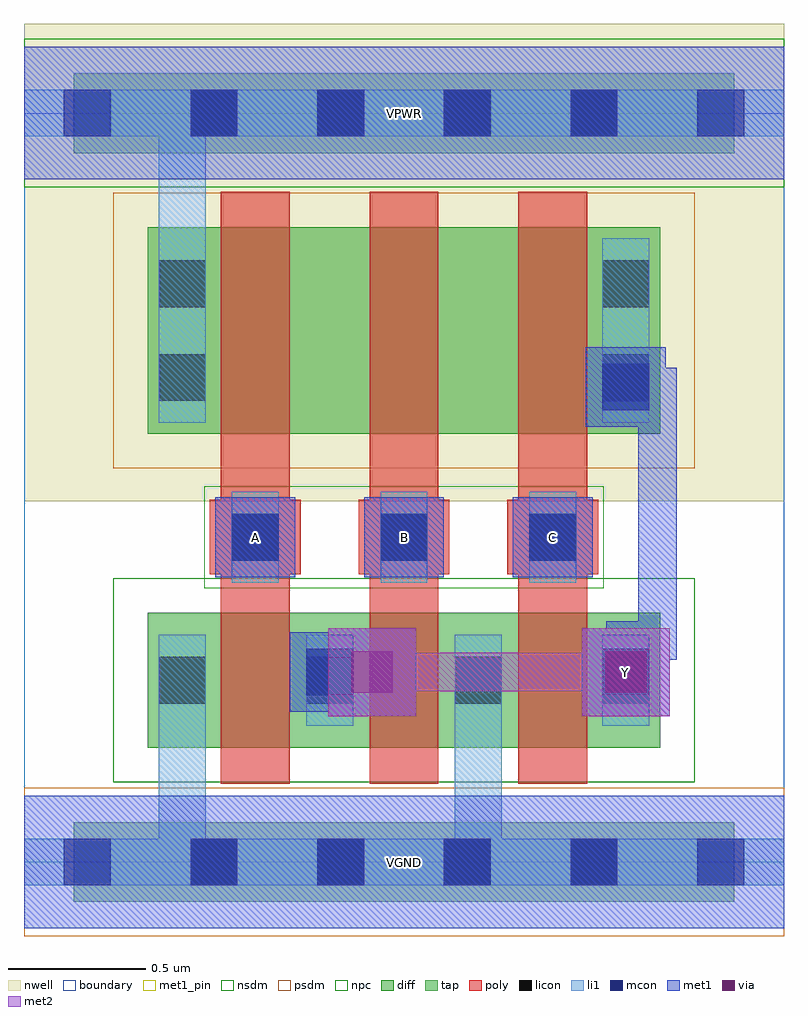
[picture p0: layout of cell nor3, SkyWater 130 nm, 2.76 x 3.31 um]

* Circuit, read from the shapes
.subckt nor3 A B C VGND VPWR Y
XM1 Y A VGND VGND sky130_fd_pr__nfet_01v8 w=0.49 l=0.25
XM2 VGND B Y VGND sky130_fd_pr__nfet_01v8 w=0.49 l=0.25
XM3 Y C VGND VGND sky130_fd_pr__nfet_01v8 w=0.49 l=0.25
XM4 n1 A VPWR VPWR sky130_fd_pr__pfet_01v8 w=0.75 l=0.25
XM5 n2 B n1 VPWR sky130_fd_pr__pfet_01v8 w=0.75 l=0.25
XM6 Y C n2 VPWR sky130_fd_pr__pfet_01v8 w=0.75 l=0.25
.ends

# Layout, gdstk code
import gdstk
lib = gdstk.Library(unit=1e-6, precision=1e-09)
def R(c, l, rs):  # rectangles x0, y0, x1, y1
    for r in rs: c.add(gdstk.rectangle(r[:2], r[2:], *l))
def A(c, l, x, y, w, h, nx, ny, dx, dy):  # array of equal rectangles
    R(c, l, [(x+i*dx, y+j*dy, x+i*dx+w, y+j*dy+h) for i in range(nx) for j in range(ny)])
nwell = (64, 20)
diff = (65, 20)
tap = (65, 44)
poly = (66, 20)
licon = (66, 44)
li1 = (67, 20)
mcon = (67, 44)
met1_pin = (68, 16)
met1 = (68, 20)
via = (68, 44)
met2 = (69, 20)
nsdm = (93, 44)
psdm = (94, 20)
npc = (95, 20)
boundary = (235, 4)

nor3 = lib.new_cell('nor3')
R(nor3, nwell, [(0,1.31,2.76,3.045)])
R(nor3, diff, [(0.45,0.415,2.31,0.905), (0.45,1.555,2.31,2.305)])
R(nor3, tap, [(0.18,-0.145,2.58,0.145), (0.18,2.575,2.58,2.865)])
A(nor3, poly, 0.715, 0.285, 0.25, 2.15, 3, 1, 0.54, 0)
A(nor3, poly, 0.675, 1.045, 0.33, 0.27, 3, 1, 0.54, 0)
A(nor3, licon, 0.605, -0.085, 0.17, 0.17, 4, 2, 0.46, 2.72)
A(nor3, licon, 0.755, 1.095, 0.17, 0.17, 3, 1, 0.54, 0)
R(nor3, licon, [(0.49,0.575,0.66,0.745), (1.025,0.575,1.195,0.745), (1.565,0.575,1.735,0.745), (2.1,0.575,2.27,0.745), (0.49,1.675,0.66,1.845), (2.1,1.675,2.27,1.845), (0.49,2.015,0.66,2.185), (2.1,2.015,2.27,2.185)])
A(nor3, li1, 0.755, 1.015, 0.17, 0.33, 3, 1, 0.54, 0)
R(nor3, li1, [(0,-0.085,2.76,0.085), (0.49,-0.085,0.66,0.825), (1.565,-0.085,1.735,0.825), (0.49,0.495,0.66,0.825), (1.025,0.495,1.195,0.825), (1.565,0.495,1.735,0.825), (2.1,0.495,2.27,0.825), (0.49,1.595,0.66,2.265), (0.49,1.595,0.66,2.805), (2.1,1.595,2.27,2.265), (0,2.635,2.76,2.805)])
A(nor3, mcon, 0.145, -0.085, 0.17, 0.17, 6, 2, 0.46, 2.72)
A(nor3, mcon, 0.755, 1.095, 0.17, 0.17, 3, 1, 0.54, 0)
R(nor3, mcon, [(1.025,0.605,1.195,0.775), (2.1,0.605,2.27,0.775), (2.1,1.64,2.27,1.81)])
A(nor3, met1_pin, 0.695, 1.035, 0.29, 0.29, 3, 1, 0.54, 0)
R(nor3, met1_pin, [(0,-0.24,2.76,0.24), (2.025,0.53,2.345,0.85), (0,2.48,2.76,2.96)])
A(nor3, met1, 0.695, 1.035, 0.29, 0.29, 3, 1, 0.54, 0)
R(nor3, met1, [(0,-0.24,2.76,0.24), (1.105,0.53,1.425,0.85), (2.025,0.53,2.345,0.85), (0.965,0.545,1.255,0.835), (2.04,0.545,2.33,0.835), (1.04,0.62,1.335,0.76), (2.115,0.62,2.255,0.875), (2.115,0.735,2.37,0.875), (2.23,0.735,2.37,1.795), (2.04,1.58,2.33,1.87), (2.115,1.655,2.37,1.795), (0,2.48,2.76,2.96)])
R(nor3, via, [(1.19,0.615,1.34,0.765), (2.11,0.615,2.26,0.765)])
R(nor3, met2, [(1.105,0.53,1.425,0.85), (2.025,0.53,2.345,0.85), (1.195,0.62,2.255,0.76)])
R(nor3, nsdm, [(0.325,0.29,2.435,1.03), (0,2.45,2.76,2.99)])
R(nor3, psdm, [(0,-0.27,2.76,0.27), (0.325,1.43,2.435,2.43)])
R(nor3, npc, [(0.655,0.995,2.105,1.365)])
R(nor3, boundary, [(0,0,2.76,2.72)])
nor3.add(gdstk.Label('A', (0.84,1.18), layer=68, texttype=5))
nor3.add(gdstk.Label('B', (1.38,1.18), layer=68, texttype=5))
nor3.add(gdstk.Label('C', (1.92,1.18), layer=68, texttype=5))
nor3.add(gdstk.Label('Y', (2.185,0.69), layer=68, texttype=5))
nor3.add(gdstk.Label('VPWR', (1.38,2.72), layer=68, texttype=5))
nor3.add(gdstk.Label('VGND', (1.38,0), layer=68, texttype=5))
nor3.add(gdstk.Label('A', (0.84,1.18), layer=68, texttype=16))
nor3.add(gdstk.Label('B', (1.38,1.18), layer=68, texttype=16))
nor3.add(gdstk.Label('C', (1.92,1.18), layer=68, texttype=16))
nor3.add(gdstk.Label('Y', (2.185,0.69), layer=68, texttype=16))
nor3.add(gdstk.Label('VPWR', (1.38,2.72), layer=68, texttype=16))
nor3.add(gdstk.Label('VGND', (1.38,0), layer=68, texttype=16))

lib.write_gds('nor3.gds')
